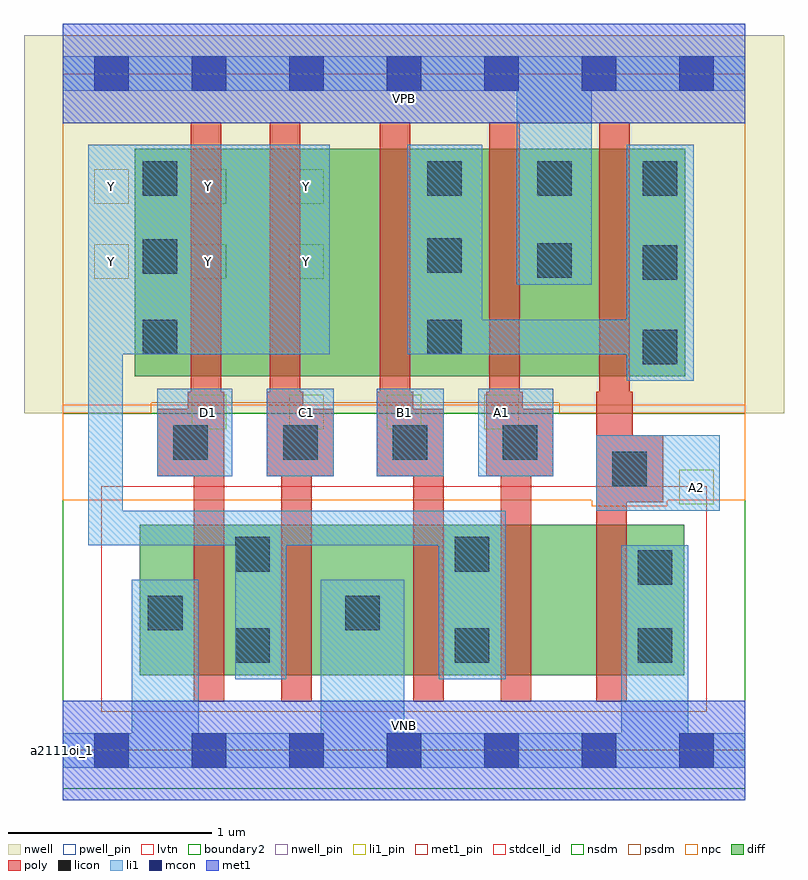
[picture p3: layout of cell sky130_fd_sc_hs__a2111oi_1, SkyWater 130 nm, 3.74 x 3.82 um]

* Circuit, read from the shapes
.subckt sky130_fd_sc_hs__a2111oi_1 A1 A2 B1 C1 D1 VGND VNB VPB VPWR Y
XM1 Y D1 VGND VNB sky130_fd_pr__nfet_01v8_lvt w=0.74 l=0.15
XM2 VGND C1 Y VNB sky130_fd_pr__nfet_01v8_lvt w=0.74 l=0.15
XM3 Y B1 VGND VNB sky130_fd_pr__nfet_01v8_lvt w=0.74 l=0.15
XM4 n1 A1 Y VNB sky130_fd_pr__nfet_01v8_lvt w=0.74 l=0.15
XM5 VGND A2 n1 VNB sky130_fd_pr__nfet_01v8_lvt w=0.74 l=0.15
XM6 n2 D1 Y VPB sky130_fd_pr__pfet_01v8 w=1.12 l=0.15
XM7 n3 C1 n2 VPB sky130_fd_pr__pfet_01v8 w=1.12 l=0.15
XM8 n4 B1 n3 VPB sky130_fd_pr__pfet_01v8 w=1.12 l=0.15
XM9 VPWR A1 n4 VPB sky130_fd_pr__pfet_01v8 w=1.12 l=0.15
XM10 n4 A2 VPWR VPB sky130_fd_pr__pfet_01v8 w=1.12 l=0.15
.ends

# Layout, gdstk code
import gdstk
lib = gdstk.Library(unit=1e-6, precision=1e-09)
def R(c, l, rs):  # rectangles x0, y0, x1, y1
    for r in rs: c.add(gdstk.rectangle(r[:2], r[2:], *l))
def A(c, l, x, y, w, h, nx, ny, dx, dy):  # array of equal rectangles
    R(c, l, [(x+i*dx, y+j*dy, x+i*dx+w, y+j*dy+h) for i in range(nx) for j in range(ny)])
def P(c, l, *ps):  # polygons
    for p in ps: c.add(gdstk.Polygon(p, *l))
nwell_pin = (64, 16)
nwell = (64, 20)
diff = (65, 20)
poly = (66, 20)
licon = (66, 44)
li1_pin = (67, 16)
li1 = (67, 20)
mcon = (67, 44)
met1_pin = (68, 16)
met1 = (68, 20)
stdcell_id = (81, 4)
nsdm = (93, 44)
psdm = (94, 20)
npc = (95, 20)
pwell_pin = (122, 16)
lvtn = (125, 44)
boundary2 = (236, 0)

sky130_fd_sc_hs__a2111oi = lib.new_cell('sky130_fd_sc_hs__a2111oi_1')
R(sky130_fd_sc_hs__a2111oi, nwell_pin, [(0,3.085,3.36,3.33)])
R(sky130_fd_sc_hs__a2111oi, nwell, [(-0.19,1.66,3.55,3.52)])
R(sky130_fd_sc_hs__a2111oi, diff, [(0.38,0.37,3.06,1.11), (0.355,1.84,3.065,2.96)])
P(sky130_fd_sc_hs__a2111oi, poly, [(0.795,1.765),(0.78,1.765),(0.78,3.09),(0.63,3.09),(0.63,1.765),(0.615,1.765),(0.615,1.68),(0.465,1.68),(0.465,1.35),(0.645,1.35),(0.645,0.24),(0.795,0.24)],
  [(1.335,1.68),(1.185,1.68),(1.185,1.765),(1.17,1.765),(1.17,3.09),(1.02,3.09),(1.02,1.765),(1.005,1.765),(1.005,1.35),(1.075,1.35),(1.075,0.24),(1.225,0.24),(1.225,1.35),(1.335,1.35)],
  [(1.875,1.68),(1.725,1.68),(1.725,1.765),(1.71,1.765),(1.71,3.09),(1.56,3.09),(1.56,1.765),(1.545,1.765),(1.545,1.35),(1.725,1.35),(1.725,0.24),(1.875,0.24)],
  [(2.415,1.68),(2.265,1.68),(2.265,1.765),(2.25,1.765),(2.25,3.09),(2.1,3.09),(2.1,1.765),(2.085,1.765),(2.085,1.35),(2.155,1.35),(2.155,0.24),(2.305,0.24),(2.305,1.35),(2.415,1.35)],
  [(2.955,1.55),(2.805,1.55),(2.805,1.765),(2.79,1.765),(2.79,3.09),(2.64,3.09),(2.64,1.765),(2.625,1.765),(2.625,0.24),(2.775,0.24),(2.775,1.22),(2.955,1.22)])
A(sky130_fd_sc_hs__a2111oi, licon, 0.545, 1.43, 0.17, 0.17, 4, 1, 0.54, 0)
A(sky130_fd_sc_hs__a2111oi, licon, 2.855, 1.9, 0.17, 0.17, 1, 3, 0, 0.415)
R(sky130_fd_sc_hs__a2111oi, licon, [(0.85,0.43,1.02,0.6), (1.93,0.43,2.1,0.6), (2.83,0.43,3,0.6), (0.42,0.59,0.59,0.76), (1.39,0.59,1.56,0.76), (2.83,0.815,3,0.985), (0.85,0.88,1.02,1.05), (1.93,0.88,2.1,1.05), (2.705,1.3,2.875,1.47), (0.395,1.95,0.565,2.12), (1.795,1.95,1.965,2.12), (2.335,2.325,2.505,2.495), (0.395,2.345,0.565,2.515), (1.795,2.35,1.965,2.52), (0.395,2.73,0.565,2.9), (1.795,2.73,1.965,2.9), (2.335,2.73,2.505,2.9)])
A(sky130_fd_sc_hs__a2111oi, li1_pin, 0.635, 1.58, 0.17, 0.17, 4, 1, 0.48, 0)
A(sky130_fd_sc_hs__a2111oi, li1_pin, 0.155, 2.32, 0.17, 0.17, 3, 2, 0.48, 0.37)
R(sky130_fd_sc_hs__a2111oi, li1_pin, [(3.035,1.21,3.205,1.38)])
R(sky130_fd_sc_hs__a2111oi, li1, [(2.625,1.18,3.235,1.55), (0.465,1.35,0.835,1.78), (1.005,1.35,1.335,1.78), (1.545,1.35,1.875,1.78), (2.045,1.35,2.415,1.78)])
P(sky130_fd_sc_hs__a2111oi, li1, [(2.235,2.29),(2.235,3.245),(0,3.245),(0,3.415),(3.36,3.415),(3.36,3.245),(2.605,3.245),(2.605,2.29)],
  [(2.75,0.085),(2.75,1.01),(3.08,1.01),(3.08,0.085),(3.36,0.085),(3.36,-0.085),(0,-0.085),(0,0.085),(0.34,0.085),(0.34,0.84),(0.67,0.84),(0.67,0.085),(1.27,0.085),(1.27,0.84),(1.68,0.84),(1.68,0.085)],
  [(1.85,0.35),(1.85,1.01),(1.1,1.01),(1.1,0.35),(0.85,0.35),(0.85,1.01),(0.125,1.01),(0.125,2.98),(1.315,2.98),(1.315,1.95),(0.295,1.95),(0.295,1.18),(2.18,1.18),(2.18,0.35)],
  [(1.695,1.95),(1.695,2.98),(2.065,2.98),(2.065,2.12),(2.775,2.12),(2.775,2.98),(3.105,2.98),(3.105,1.82),(2.775,1.82),(2.775,1.95)])
A(sky130_fd_sc_hs__a2111oi, mcon, 0.155, -0.085, 0.17, 0.17, 7, 2, 0.48, 3.33)
R(sky130_fd_sc_hs__a2111oi, met1_pin, [(0,0,3.36,0.245), (0,3.085,3.36,3.33)])
R(sky130_fd_sc_hs__a2111oi, met1, [(0,-0.245,3.36,0.245), (0,3.085,3.36,3.575)])
R(sky130_fd_sc_hs__a2111oi, stdcell_id, [(0,0,3.36,3.33)])
R(sky130_fd_sc_hs__a2111oi, nsdm, [(0,-0.19,3.36,1.66)])
P(sky130_fd_sc_hs__a2111oi, psdm, [(3.36,3.52),(0,3.52),(0,1.66),(0.435,1.66),(0.435,1.71),(2.445,1.71),(2.445,1.66),(3.36,1.66)])
P(sky130_fd_sc_hs__a2111oi, npc, [(3.36,1.7),(0,1.7),(0,1.23),(2.605,1.23),(2.605,1.2),(2.975,1.2),(2.975,1.23),(3.36,1.23)])
R(sky130_fd_sc_hs__a2111oi, pwell_pin, [(0,0,3.36,0.245)])
R(sky130_fd_sc_hs__a2111oi, lvtn, [(0.19,0.19,3.17,1.3)])
R(sky130_fd_sc_hs__a2111oi, boundary2, [(0,0,3.36,3.33)])
sky130_fd_sc_hs__a2111oi.add(gdstk.Label('a2111oi_1', (0,0), layer=83, texttype=44))
sky130_fd_sc_hs__a2111oi.add(gdstk.Label('VNB', (1.68,0.123), layer=64, texttype=59))
sky130_fd_sc_hs__a2111oi.add(gdstk.Label('VPB', (1.68,3.208), layer=64, texttype=5))
sky130_fd_sc_hs__a2111oi.add(gdstk.Label('VPWR', (1.68,3.208), layer=68, texttype=5))
sky130_fd_sc_hs__a2111oi.add(gdstk.Label('VGND', (1.68,0.123), layer=68, texttype=5))
sky130_fd_sc_hs__a2111oi.add(gdstk.Label('D1', (0.72,1.665), layer=67, texttype=5))
sky130_fd_sc_hs__a2111oi.add(gdstk.Label('C1', (1.2,1.665), layer=67, texttype=5))
sky130_fd_sc_hs__a2111oi.add(gdstk.Label('B1', (1.68,1.665), layer=67, texttype=5))
sky130_fd_sc_hs__a2111oi.add(gdstk.Label('A2', (3.12,1.295), layer=67, texttype=5))
sky130_fd_sc_hs__a2111oi.add(gdstk.Label('A1', (2.16,1.665), layer=67, texttype=5))
sky130_fd_sc_hs__a2111oi.add(gdstk.Label('Y', (0.24,2.405), layer=67, texttype=5))
sky130_fd_sc_hs__a2111oi.add(gdstk.Label('Y', (0.24,2.775), layer=67, texttype=5))
sky130_fd_sc_hs__a2111oi.add(gdstk.Label('Y', (0.72,2.405), layer=67, texttype=5))
sky130_fd_sc_hs__a2111oi.add(gdstk.Label('Y', (0.72,2.775), layer=67, texttype=5))
sky130_fd_sc_hs__a2111oi.add(gdstk.Label('Y', (1.2,2.405), layer=67, texttype=5))
sky130_fd_sc_hs__a2111oi.add(gdstk.Label('Y', (1.2,2.775), layer=67, texttype=5))

lib.write_gds('sky130_fd_sc_hs__a2111oi_1.gds')
